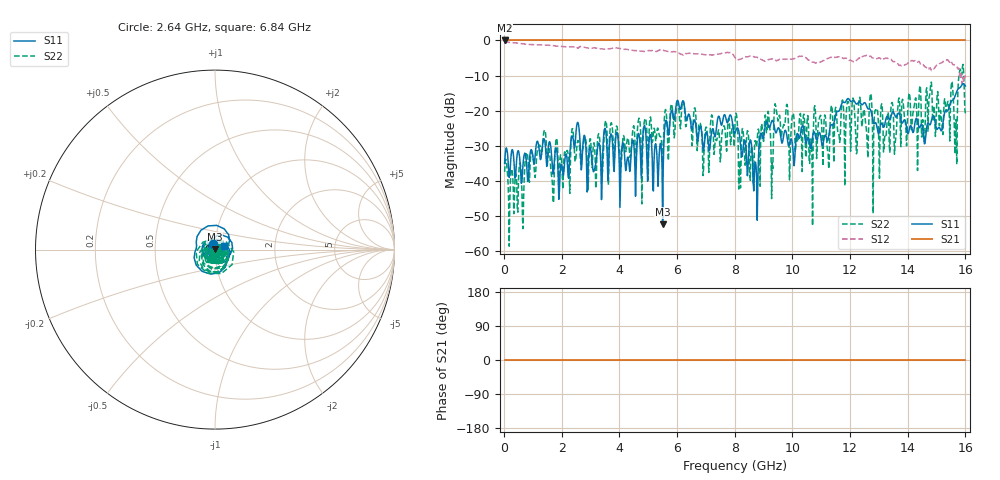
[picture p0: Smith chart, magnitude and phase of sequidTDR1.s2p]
# MHz MA S R 50.0
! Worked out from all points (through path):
!   800 points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, 20 MHz to 16 GHz, reference 50 ohm
!   highest |S21| = 0.00 dB at 20 MHz (marker M1); lowest = 0.0 dB at 20 MHz (marker M2)
!   lowest |S11| = -52.3 dB at 5.5 GHz (marker M3), VSWR 1.00, Z = 49.9 + j0.23 ohm
!   |S11| at or under -10 dB: start of sweep to end of sweep
!   |S22| runs from -58.5 to -6.8 dB; largest |S21 - S12| = 1.9
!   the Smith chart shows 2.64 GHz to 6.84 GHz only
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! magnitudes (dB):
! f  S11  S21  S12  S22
! 20 MHz  -35.0  0.0  -0.2  -37.4
! 400 MHz  -38.9  0.0  -0.7  -37.9
! 1.38 GHz  -28.0  0.0  -1.3  -26.1
! 1.68 GHz  -36.2  0.0  -1.4  -41.0
! 2.7 GHz  -35.3  0.0  -1.8  -32.4
! 5.36 GHz  -37.0  0.0  -2.8  -25.8
! 5.5 GHz  -52.3  0.0  -2.7  -36.0
! 6.04 GHz  -17.4  0.0  -3.6  -18.2
! 6.92 GHz  -31.4  0.0  -4.0  -36.5
! 8.02 GHz  -26.1  0.0  -4.9  -22.1
! 8.18 GHz  -27.8  0.0  -5.4  -34.2
! 8.72 GHz  -34.6  0.0  -4.7  -28.5
! 9.12 GHz  -23.1  0.0  -5.7  -26.2
! 9.28 GHz  -23.0  0.0  -5.3  -45.0
! 9.46 GHz  -25.8  0.0  -5.8  -20.7
! 10.68 GHz  -28.8  0.0  -6.1  -33.4
! 11.92 GHz  -16.5  0.0  -5.3  -17.3
! 13.34 GHz  -22.2  0.0  -5.3  -22.3
! 15.12 GHz  -25.0  0.0  -6.5  -20.4
! 15.66 GHz  -15.3  0.0  -7.2  -22.7
! 15.86 GHz  -12.9  0.0  -9.8  -9.8
! 16 GHz  -12.9  0.0  -9.9  -20.7
